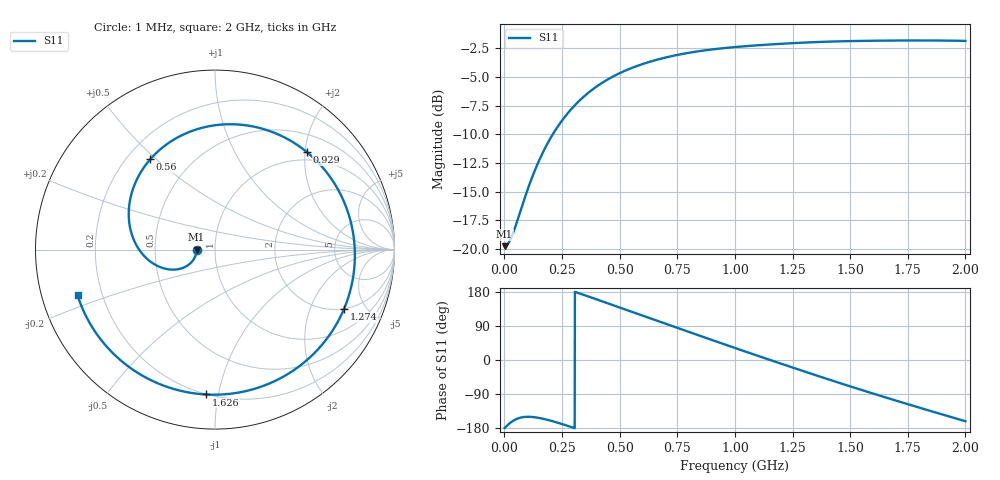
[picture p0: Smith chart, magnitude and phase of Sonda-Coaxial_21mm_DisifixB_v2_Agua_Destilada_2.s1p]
! TOUCHSTONE file generated by CST MICROWAVE STUDIO
! Date and time: Sun Aug  2 00:10:29 2026
! Project name: Sonda-Coaxial_21mm_DisifixB_v2_Agua_Destilada.cst
! Parameters = {h_recipiente=20; l_conector=50; r_arandela=35; r_ext=10.5; r_int=3; r_recipiente=100; z_recipiente=-30}
! Header version: 2018
! Port assignment regex: !\s*Touchstone port\s*([0-9]+)\s*=\s*(CST MWS port|CST DS port)\s*([0-9]+|Zmin|Zmax)\s*\(\"(.*)\"\)(\s*mode\s*([0-9]+))?.*
! Touchstone port assignment:
! Touchstone port 1 = CST MWS port 1 ("")
# GHz S RI R 50
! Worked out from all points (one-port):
!   2000 points, 1 MHz to 2 GHz, reference 50 ohm
!   lowest |S11| = -19.7 dB at 1 MHz (marker M1), VSWR 1.23, Z = 40.7 - j0.0874 ohm
!   |S11| at or under -10 dB: start of sweep to 209.9 MHz
!   S11 on the Smith chart (normalised r, x): 1 MHz: 0.81, -0.00; 560 MHz: 0.29, +0.48; 929 MHz: 0.83, +2.03; 1.274 GHz: 1.98, -3.51; 1.626 GHz: 0.20, -0.92; 2 GHz: 0.11, -0.16
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0.001  -0.103 -0.00106
0.035  -0.1097 -0.0364
0.139  -0.2014 -0.1083
0.195  -0.2786 -0.1062
0.251  -0.3577 -0.0685
0.321  -0.4381 0.0248
0.382  -0.476 0.1376
0.441  -0.4759 0.2614
0.501  -0.4363 0.3888
0.56  -0.3605 0.5035
0.66  -0.1631 0.6472
0.751  0.0651 0.6983
0.838  0.2943 0.6641
0.929  0.5112 0.5439
1.001  0.6463 0.3975
1.065  0.7295 0.2401
1.127  0.7723 0.0724
1.189  0.7762 -0.1008
1.251  0.7412 -0.2705
1.274  0.7187 -0.3308
1.394  0.5273 -0.6021
1.501  0.2787 -0.7558
1.563  0.117 -0.7989
1.626  -0.0506 -0.8073
1.688  -0.2117 -0.7817
1.751  -0.3649 -0.7236
1.882  -0.6251 -0.5151
2  -0.7658 -0.2551
